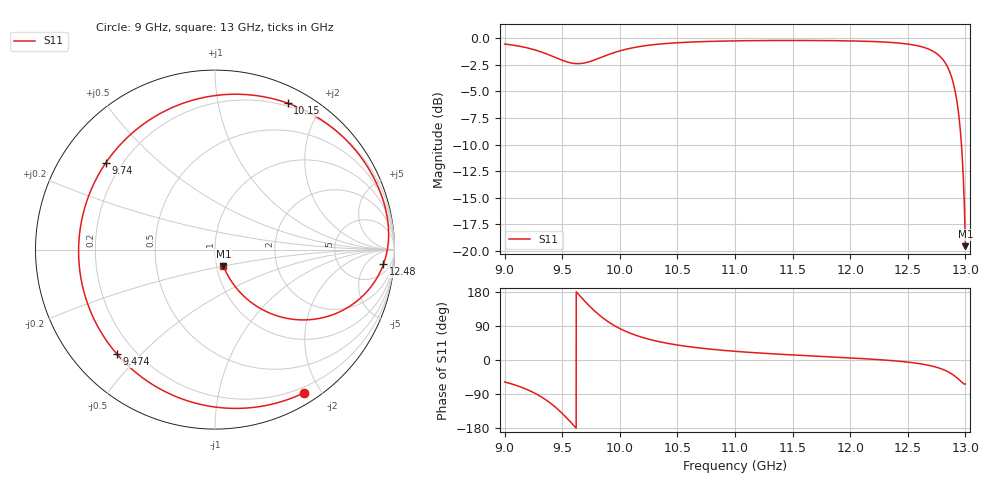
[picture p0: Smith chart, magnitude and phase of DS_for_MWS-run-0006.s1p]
! TOUCHSTONE file generated by CST DESIGN STUDIO
! Date and time: Wed Feb  5 13:27:49 2025
! Project name: C:\Work\MatlabApps\UnitCellOptimizationMatlab\CST\unitcell.cst
! Tree item: Tasks\Sweep1\SPara1\S-Parameters
! Header version: 2024
! Port assignment regex: !\s*Touchstone port\s*([0-9]+)\s*=\s*(CST MWS port|CST DES external port|CST DES block port)\s*(.+)\s* \(\"(.*)\"\)(\s*mode\s*([0-9]+))?.*
! Touchstone port assignment:
! Touchstone port 1 = CST DES external port 1 ("")
# GHz S MA R 50
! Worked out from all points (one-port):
!   4001 points, 9 GHz to 13 GHz, reference 50 ohm
!   lowest |S11| = -19.6 dB at 13 GHz (marker M1), VSWR 1.24, Z = 54 - j10.2 ohm
!   |S11| at or under -10 dB: 12.96575 GHz to end of sweep
!   S11 on the Smith chart (normalised r, x): 9 GHz: 0.13, -1.80; 9.474 GHz: 0.13, -0.42; 9.74 GHz: 0.14, +0.34; 10.15 GHz: 0.17, +1.60; 12.48 GHz: 11, -16; 13 GHz: 1.08, -0.20
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9  0.9398 -58.0
9.147  0.9134 -72.1
9.291  0.8722 -92.4
9.387  0.8349 -111.4
9.474  0.7982 -133.4
9.5  0.7881 -140.9
9.563  0.7685 -160.5
9.62  0.7601 -179.5
9.677  0.7627 161.4
9.74  0.7771 141.4
9.8  0.7981 124.3
9.86  0.8217 109.4
10  0.8722 83.0
10.155  0.911 63.6
10.311  0.9353 50.4
10.5  0.9528 39.5
11  0.9722 22.9
11.5  0.9766 13.3
12  0.9719 5.5
12.48  0.9422 -4.9
12.5  0.9392 -5.6
12.738  0.8568 -18.1
12.815  0.7804 -26.2
12.879  0.6595 -36.3
12.92  0.5308 -45.3
12.951  0.3945 -53.5
12.971  0.2864 -59.1
13  0.1052 -63.2
